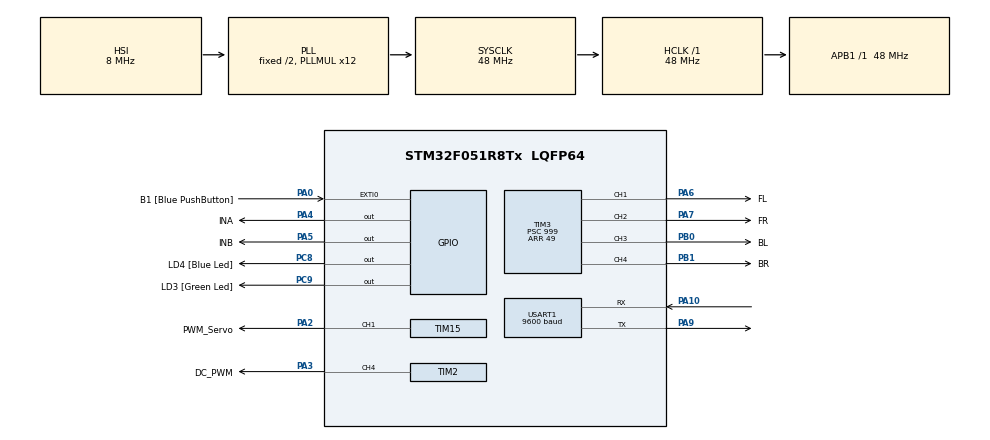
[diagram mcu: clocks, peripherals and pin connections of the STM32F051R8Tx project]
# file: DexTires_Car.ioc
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Mcu.Family=STM32F0
Mcu.Name=STM32F051R8Tx
Mcu.Package=LQFP64
NVIC.USART1_IRQn=true\:0\:0\:false\:false\:true\:true\:true
PA0.GPIO_Label=B1 [Blue PushButton]
PA0.GPIO_ModeDefaultEXTI=GPIO_MODE_IT_RISING
PA0.Signal=GPXTI0
PA10.Mode=Asynchronous
PA10.Signal=USART1_RX
PA13.GPIO_Label=SWDIO
PA13.Mode=Serial_Wire
PA13.Signal=SYS_SWDIO
PA14.GPIO_Label=SWCLK
PA14.Mode=Serial_Wire
PA14.Signal=SYS_SWCLK
PA2.GPIO_Label=PWM_Servo
PA2.Signal=S_TIM15_CH1
PA3.GPIO_Label=DC_PWM
PA3.Signal=S_TIM2_CH4
PA4.GPIO_Label=INA
PA4.Signal=GPIO_Output
PA5.GPIO_Label=INB
PA5.Signal=GPIO_Output
PA6.GPIO_Label=FL
PA6.Signal=S_TIM3_CH1
PA7.GPIO_Label=FR
PA7.Signal=S_TIM3_CH2
PA9.Mode=Asynchronous
PA9.Signal=USART1_TX
PB0.GPIO_Label=BL
PB0.Signal=S_TIM3_CH3
PB1.GPIO_Label=BR
PB1.Signal=S_TIM3_CH4
PC8.GPIO_Label=LD4 [Blue Led]
PC8.Signal=GPIO_Output
PC9.GPIO_Label=LD3 [Green Led]
PC9.Signal=GPIO_Output
ProjectManager.HeapSize=0x200
ProjectManager.StackSize=0x400
ProjectManager.TargetToolchain=STM32CubeIDE
RCC.AHBFreq_Value=48000000
RCC.APB1Freq_Value=48000000
RCC.APB1TimFreq_Value=48000000
RCC.HCLKFreq_Value=48000000
RCC.PLLMUL=RCC_PLL_MUL12
RCC.SYSCLKFreq_VALUE=48000000
RCC.SYSCLKSource=RCC_SYSCLKSOURCE_PLLCLK
SH.S_TIM15_CH1.0=TIM15_CH1,PWM Generation1 CH1
SH.S_TIM2_CH4.0=TIM2_CH4,PWM Generation4 CH4
SH.S_TIM3_CH1.0=TIM3_CH1,PWM Generation1 CH1
SH.S_TIM3_CH2.0=TIM3_CH2,PWM Generation2 CH2
SH.S_TIM3_CH3.0=TIM3_CH3,PWM Generation3 CH3
SH.S_TIM3_CH4.0=TIM3_CH4,PWM Generation4 CH4
TIM15.Channel-PWM\ Generation1\ CH1=TIM_CHANNEL_1
TIM15.Period=9999
TIM15.Prescaler=95
TIM2.Channel-PWM\ Generation4\ CH4=TIM_CHANNEL_4
TIM2.Period=9999
TIM2.Prescaler=95
TIM3.Channel-PWM\ Generation1\ CH1=TIM_CHANNEL_1
TIM3.Channel-PWM\ Generation2\ CH2=TIM_CHANNEL_2
TIM3.Channel-PWM\ Generation3\ CH3=TIM_CHANNEL_3
TIM3.Channel-PWM\ Generation4\ CH4=TIM_CHANNEL_4
TIM3.Period=49
TIM3.Prescaler=999
TIM3.Pulse-PWM\ Generation1\ CH1=0
TIM3.Pulse-PWM\ Generation2\ CH2=0
TIM3.Pulse-PWM\ Generation3\ CH3=0
TIM3.Pulse-PWM\ Generation4\ CH4=0
USART1.BaudRate=9600
USART1.VirtualMode-Asynchronous=VM_ASYNC
VP_TIM2_VS_ClockSourceINT.Mode=Internal
VP_TIM3_VS_ClockSourceINT.Mode=Internal
board=STM32F0DISCOVERY

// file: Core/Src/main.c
/* USER CODE BEGIN Header */
/**
  ******************************************************************************
  * @file           : main.c
  * @brief          : Main program body
  ******************************************************************************
  * @attention
  *
  * <h2><center>&copy; Copyright (c) 2020 STMicroelectronics.
  * All rights reserved.</center></h2>
  *
  * This software component is licensed by ST under BSD 3-Clause license,
  * the "License"; You may not use this file except in compliance with the
  * License. You may obtain a copy of the License at:
  *                        opensource.org/licenses/BSD-3-Clause
  *
  ******************************************************************************
  */
/* USER CODE END Header */
#include "main.h"

TIM_HandleTypeDef htim2;
TIM_HandleTypeDef htim3;
TIM_HandleTypeDef htim15;

UART_HandleTypeDef huart1;

/* USER CODE BEGIN PV */
unsigned ADC_val;
int enableLEDs;
int LEDsRunning;
int prevSpeed;
int prevForwardBackward;
int ledPulseWidth;

enum LightIndication {
	Off = 0x0,
	Front = 0x1 << 0,
	Back = 0x1 << 1,
	Left = 0x1 << 2,
	Right = 0x1 << 3
};

uint8_t rxbuffer;

/* USER CODE END PV */

void SystemClock_Config(void);
static void MX_GPIO_Init(void);
static void MX_TIM3_Init(void);
static void MX_TIM2_Init(void);
static void MX_TIM15_Init(void);
static void MX_USART1_UART_Init(void);
/* USER CODE BEGIN PFP */
void SetCalibrationLights(uint8_t, uint8_t);
void DecodeData(uint8_t);
void speed_conversion(uint8_t, uint8_t);
void angle_conversion(uint8_t, uint8_t);
/* USER CODE END PFP */

int main(void)
{

  /* MCU Configuration--------------------------------------------------------*/

  /* Reset of all peripherals, Initializes the Flash interface and the Systick. */
  HAL_Init();

  /* USER CODE BEGIN Init */
  ADC_val = 0;
  LEDsRunning = 0;
  enableLEDs = 0;
  prevSpeed = 0;
  prevForwardBackward = 3;
  ledPulseWidth = 0;

  /* USER CODE END Init */

  /* Configure the system clock */
  SystemClock_Config();

  /* Initialize all configured peripherals */
  MX_GPIO_Init();
  MX_TIM3_Init();
  MX_TIM2_Init();
  MX_TIM15_Init();
  MX_USART1_UART_Init();
  /* USER CODE BEGIN 2 */
  //START TIMERS
  HAL_TIM_PWM_Start(&htim2, TIM_CHANNEL_4);
  HAL_TIM_PWM_Start(&htim15, TIM_CHANNEL_1);

  //Enable Timer Channels
  HAL_TIM_PWM_Start(&htim3, TIM_CHANNEL_1);
  HAL_TIM_PWM_Start(&htim3, TIM_CHANNEL_2);
  HAL_TIM_PWM_Start(&htim3, TIM_CHANNEL_3);
  HAL_TIM_PWM_Start(&htim3, TIM_CHANNEL_4);
  /* USER CODE END 2 */

  /* Infinite loop */
  /* USER CODE BEGIN WHILE */

  // Enabling the Receiver Interrupt for UART transmission
  __HAL_UART_ENABLE_IT(&huart1, UART_IT_RXNE);

  while (1)
  {
    /* USER CODE END WHILE */

    /* USER CODE BEGIN 3 */
	  DecodeData(rxbuffer);
	  //Testing Calibration LEDs
	  /*
	  uint8_t message = 0;
	  uint8_t temp = 0;
	  for (int i = 0; i <= 3; i++) {
	  	  temp = 0x1 << 7; //Calibration Mode
		  temp |= (i << 5); //Direction
		  for (int j = 1; j <= 2; j++) {
			  message = temp | j; //Pressure
			  DecodeData(message);
			  HAL_Delay(3000);
		  }
	  }*/

//	  //Test Motors
//	  uint8_t message = 0;
//	  //uint8_t temp = 0;
//
//	  message = 1 << 7;
//	  message |= 0 << 5;
//	  message |= 31;
//	  DecodeData(message);
//	  HAL_Delay(4000);
//
//	  message = 0;
//	  message = 1 << 5;
//	  message |= 1;
//	  DecodeData(message);
//	  HAL_Delay(4000);
//
//	  message = 0;
//	  message = 2 << 5;
//	  message |= 1;
//	  DecodeData(message);
//	  HAL_Delay(4000);
//
//	  message = 0;
//	  message = 3 << 5;
//	  message |= 31;
//	  DecodeData(message);
//	  HAL_Delay(4000);
//
//	  message = 0;
//	  message = 1 << 5;
//	  message |= 1;
//	  DecodeData(message);
//	  HAL_Delay(4000);

	  /*
	  for (int i = 0; i <= 3; i++) {
		  temp = 0x0 << 7; //Calibration Mode
		  temp |= (i << 5); //Direction
		  for (int j = 0; j <= 31; j++) {
			  message = temp | j; //Speed
			  DecodeData(message);
			  HAL_Delay(3000);
		  }
	  }*/

	  /*
	  uint8_t message = 0;
	  for (int i = 0 ; i < 32; i++) {
		  //speed_conversion(i, 0); //Forward
		  //angle_conversion(i, 1); //Right
		  message = 1 << 7;
		  message |= 0 << 5;
		  message |= i;
		  DecodeData(message);
		  HAL_Delay(100);
	  }*/

	  /*
	  uint8_t message = 0;
	  //speed_conversion(i, 0); //Forward
	  //angle_conversion(i, 1); //Right
	  message = 1 << 7;
	  message |= 0 << 5;
	  message |= 0;
	  DecodeData(message);
	  message |= 31;
	  DecodeData(message);
	  message = 1 << 7;
	  message |= 3 << 5;
	  message |= 0;
	  DecodeData(message);
	  message |= 31;
	  DecodeData(message);
	  */

	  /*
	  for (int i = 0 ; i < 32; i++) {
		  speed_conversion(i, 3); //Backward
		  angle_conversion(i, 2); //Left
		  HAL_Delay(1000);
	  }
	  */
  }
  /* USER CODE END 3 */
}

void SystemClock_Config(void)
{
  RCC_OscInitTypeDef RCC_OscInitStruct = {0};
  RCC_ClkInitTypeDef RCC_ClkInitStruct = {0};
  RCC_PeriphCLKInitTypeDef PeriphClkInit = {0};

  /** Initializes the RCC Oscillators according to the specified parameters
  * in the RCC_OscInitTypeDef structure.
  */
  RCC_OscInitStruct.OscillatorType = RCC_OSCILLATORTYPE_HSI;
  RCC_OscInitStruct.HSIState = RCC_HSI_ON;
  RCC_OscInitStruct.HSICalibrationValue = RCC_HSICALIBRATION_DEFAULT;
  RCC_OscInitStruct.PLL.PLLState = RCC_PLL_ON;
  RCC_OscInitStruct.PLL.PLLSource = RCC_PLLSOURCE_HSI;
  RCC_OscInitStruct.PLL.PLLMUL = RCC_PLL_MUL12;
  RCC_OscInitStruct.PLL.PREDIV = RCC_PREDIV_DIV1;
  if (HAL_RCC_OscConfig(&RCC_OscInitStruct) != HAL_OK)
  {
    Error_Handler();
  }
  /** Initializes the CPU, AHB and APB buses clocks
  */
  RCC_ClkInitStruct.ClockType = RCC_CLOCKTYPE_HCLK|RCC_CLOCKTYPE_SYSCLK
                              |RCC_CLOCKTYPE_PCLK1;
  RCC_ClkInitStruct.SYSCLKSource = RCC_SYSCLKSOURCE_PLLCLK;
  RCC_ClkInitStruct.AHBCLKDivider = RCC_SYSCLK_DIV1;
  RCC_ClkInitStruct.APB1CLKDivider = RCC_HCLK_DIV1;

  if (HAL_RCC_ClockConfig(&RCC_ClkInitStruct, FLASH_LATENCY_1) != HAL_OK)
  {
    Error_Handler();
  }
  PeriphClkInit.PeriphClockSelection = RCC_PERIPHCLK_USART1;
  PeriphClkInit.Usart1ClockSelection = RCC_USART1CLKSOURCE_PCLK1;
  if (HAL_RCCEx_PeriphCLKConfig(&PeriphClkInit) != HAL_OK)
  {
    Error_Handler();
  }
}

static void MX_TIM2_Init(void)
{

  TIM_ClockConfigTypeDef sClockSourceConfig = {0};
  TIM_MasterConfigTypeDef sMasterConfig = {0};
  TIM_OC_InitTypeDef sConfigOC = {0};

  htim2.Instance = TIM2;
  htim2.Init.Prescaler = 95;
  htim2.Init.CounterMode = TIM_COUNTERMODE_UP;
  htim2.Init.Period = 9999;
  htim2.Init.ClockDivision = TIM_CLOCKDIVISION_DIV1;
  htim2.Init.AutoReloadPreload = TIM_AUTORELOAD_PRELOAD_DISABLE;
  if (HAL_TIM_Base_Init(&htim2) != HAL_OK)
  {
    Error_Handler();
  }
  sClockSourceConfig.ClockSource = TIM_CLOCKSOURCE_INTERNAL;
  if (HAL_TIM_ConfigClockSource(&htim2, &sClockSourceConfig) != HAL_OK)
  {
    Error_Handler();
  }
  if (HAL_TIM_PWM_Init(&htim2) != HAL_OK)
  {
    Error_Handler();
  }
  sMasterConfig.MasterOutputTrigger = TIM_TRGO_RESET;
  sMasterConfig.MasterSlaveMode = TIM_MASTERSLAVEMODE_DISABLE;
  if (HAL_TIMEx_MasterConfigSynchronization(&htim2, &sMasterConfig) != HAL_OK)
  {
    Error_Handler();
  }
  sConfigOC.OCMode = TIM_OCMODE_PWM1;
  sConfigOC.Pulse = 0;
  sConfigOC.OCPolarity = TIM_OCPOLARITY_HIGH;
  sConfigOC.OCFastMode = TIM_OCFAST_DISABLE;
  if (HAL_TIM_PWM_ConfigChannel(&htim2, &sConfigOC, TIM_CHANNEL_4) != HAL_OK)
  {
    Error_Handler();
  }
  HAL_TIM_MspPostInit(&htim2);

}

static void MX_TIM3_Init(void)
{

  TIM_ClockConfigTypeDef sClockSourceConfig = {0};
  TIM_MasterConfigTypeDef sMasterConfig = {0};
  TIM_OC_InitTypeDef sConfigOC = {0};

  htim3.Instance = TIM3;
  htim3.Init.Prescaler = 999;
  htim3.Init.CounterMode = TIM_COUNTERMODE_UP;
  htim3.Init.Period = 49;
  htim3.Init.ClockDivision = TIM_CLOCKDIVISION_DIV1;
  htim3.Init.AutoReloadPreload = TIM_AUTORELOAD_PRELOAD_DISABLE;
  if (HAL_TIM_Base_Init(&htim3) != HAL_OK)
  {
    Error_Handler();
  }
  sClockSourceConfig.ClockSource = TIM_CLOCKSOURCE_INTERNAL;
  if (HAL_TIM_ConfigClockSource(&htim3, &sClockSourceConfig) != HAL_OK)
  {
    Error_Handler();
  }
  if (HAL_TIM_PWM_Init(&htim3) != HAL_OK)
  {
    Error_Handler();
  }
  sMasterConfig.MasterOutputTrigger = TIM_TRGO_RESET;
  sMasterConfig.MasterSlaveMode = TIM_MASTERSLAVEMODE_DISABLE;
  if (HAL_TIMEx_MasterConfigSynchronization(&htim3, &sMasterConfig) != HAL_OK)
  {
    Error_Handler();
  }
  sConfigOC.OCMode = TIM_OCMODE_PWM1;
  sConfigOC.Pulse = 0;
  sConfigOC.OCPolarity = TIM_OCPOLARITY_HIGH;
  sConfigOC.OCFastMode = TIM_OCFAST_DISABLE;
  if (HAL_TIM_PWM_ConfigChannel(&htim3, &sConfigOC, TIM_CHANNEL_1) != HAL_OK)
  {
    Error_Handler();
  }
  if (HAL_TIM_PWM_ConfigChannel(&htim3, &sConfigOC, TIM_CHANNEL_2) != HAL_OK)
  {
    Error_Handler();
  }
  if (HAL_TIM_PWM_ConfigChannel(&htim3, &sConfigOC, TIM_CHANNEL_3) != HAL_OK)
  {
    Error_Handler();
  }
  if (HAL_TIM_PWM_ConfigChannel(&htim3, &sConfigOC, TIM_CHANNEL_4) != HAL_OK)
  {
    Error_Handler();
  }
  HAL_TIM_MspPostInit(&htim3);

}

static void MX_TIM15_Init(void)
{

  TIM_MasterConfigTypeDef sMasterConfig = {0};
  TIM_OC_InitTypeDef sConfigOC = {0};
  TIM_BreakDeadTimeConfigTypeDef sBreakDeadTimeConfig = {0};

  htim15.Instance = TIM15;
  htim15.Init.Prescaler = 95;
  htim15.Init.CounterMode = TIM_COUNTERMODE_UP;
  htim15.Init.Period = 9999;
  htim15.Init.ClockDivision = TIM_CLOCKDIVISION_DIV1;
  htim15.Init.RepetitionCounter = 0;
  htim15.Init.AutoReloadPreload = TIM_AUTORELOAD_PRELOAD_DISABLE;
  if (HAL_TIM_PWM_Init(&htim15) != HAL_OK)
  {
    Error_Handler();
  }
  sMasterConfig.MasterOutputTrigger = TIM_TRGO_RESET;
  sMasterConfig.MasterSlaveMode = TIM_MASTERSLAVEMODE_DISABLE;
  if (HAL_TIMEx_MasterConfigSynchronization(&htim15, &sMasterConfig) != HAL_OK)
  {
    Error_Handler();
  }
  sConfigOC.OCMode = TIM_OCMODE_PWM1;
  sConfigOC.Pulse = 0;
  sConfigOC.OCPolarity = TIM_OCPOLARITY_HIGH;
  sConfigOC.OCNPolarity = TIM_OCNPOLARITY_HIGH;
  sConfigOC.OCFastMode = TIM_OCFAST_DISABLE;
  sConfigOC.OCIdleState = TIM_OCIDLESTATE_RESET;
  sConfigOC.OCNIdleState = TIM_OCNIDLESTATE_RESET;
  if (HAL_TIM_PWM_ConfigChannel(&htim15, &sConfigOC, TIM_CHANNEL_1) != HAL_OK)
  {
    Error_Handler();
  }
  sBreakDeadTimeConfig.OffStateRunMode = TIM_OSSR_DISABLE;
  sBreakDeadTimeConfig.OffStateIDLEMode = TIM_OSSI_DISABLE;
  sBreakDeadTimeConfig.LockLevel = TIM_LOCKLEVEL_OFF;
  sBreakDeadTimeConfig.DeadTime = 0;
  sBreakDeadTimeConfig.BreakState = TIM_BREAK_DISABLE;
  sBreakDeadTimeConfig.BreakPolarity = TIM_BREAKPOLARITY_HIGH;
  sBreakDeadTimeConfig.AutomaticOutput = TIM_AUTOMATICOUTPUT_DISABLE;
  if (HAL_TIMEx_ConfigBreakDeadTime(&htim15, &sBreakDeadTimeConfig) != HAL_OK)
  {
    Error_Handler();
  }
  HAL_TIM_MspPostInit(&htim15);

}

static void MX_USART1_UART_Init(void)
{

  huart1.Instance = USART1;
  huart1.Init.BaudRate = 9600;
  huart1.Init.WordLength = UART_WORDLENGTH_8B;
  huart1.Init.StopBits = UART_STOPBITS_1;
  huart1.Init.Parity = UART_PARITY_NONE;
  huart1.Init.Mode = UART_MODE_TX_RX;
  huart1.Init.HwFlowCtl = UART_HWCONTROL_NONE;
  huart1.Init.OverSampling = UART_OVERSAMPLING_16;
  huart1.Init.OneBitSampling = UART_ONE_BIT_SAMPLE_DISABLE;
  huart1.AdvancedInit.AdvFeatureInit = UART_ADVFEATURE_NO_INIT;
  if (HAL_UART_Init(&huart1) != HAL_OK)
  {
    Error_Handler();
  }

}

static void MX_GPIO_Init(void)
{
  GPIO_InitTypeDef GPIO_InitStruct = {0};

  /* GPIO Ports Clock Enable */
  __HAL_RCC_GPIOA_CLK_ENABLE();
  __HAL_RCC_GPIOB_CLK_ENABLE();
  __HAL_RCC_GPIOC_CLK_ENABLE();

  /*Configure GPIO pin Output Level */
  HAL_GPIO_WritePin(GPIOA, INA_Pin|INB_Pin, GPIO_PIN_RESET);

  /*Configure GPIO pin Output Level */
  HAL_GPIO_WritePin(GPIOC, LD4_Pin|LD3_Pin, GPIO_PIN_RESET);

  /*Configure GPIO pin : B1_Pin */
  GPIO_InitStruct.Pin = B1_Pin;
  GPIO_InitStruct.Mode = GPIO_MODE_IT_RISING;
  GPIO_InitStruct.Pull = GPIO_NOPULL;
  HAL_GPIO_Init(B1_GPIO_Port, &GPIO_InitStruct);

  /*Configure GPIO pins : INA_Pin INB_Pin */
  GPIO_InitStruct.Pin = INA_Pin|INB_Pin;
  GPIO_InitStruct.Mode = GPIO_MODE_OUTPUT_PP;
  GPIO_InitStruct.Pull = GPIO_NOPULL;
  GPIO_InitStruct.Speed = GPIO_SPEED_FREQ_LOW;
  HAL_GPIO_Init(GPIOA, &GPIO_InitStruct);

  /*Configure GPIO pins : LD4_Pin LD3_Pin */
  GPIO_InitStruct.Pin = LD4_Pin|LD3_Pin;
  GPIO_InitStruct.Mode = GPIO_MODE_OUTPUT_PP;
  GPIO_InitStruct.Pull = GPIO_NOPULL;
  GPIO_InitStruct.Speed = GPIO_SPEED_FREQ_LOW;
  HAL_GPIO_Init(GPIOC, &GPIO_InitStruct);

}

/* USER CODE BEGIN 4 */

/* void DecodeData(uint8_t message)
 * Function takes in the received rxbuffer value and decodes it into the appropriate
 * mode, speed, and direction bits. If the remote is in calibration mode, then motors are disabled
 * and LEDs are enabled. Else, motors are enabled and appropriate speed translations into
 * PWM are performed.*/
void DecodeData(uint8_t message) {
	uint8_t mode = message >> 7; //Get bit-7
	uint8_t direction = (message >> 5) & 0x3; // Get bit-6 and bit-5
	uint8_t speed = message & 0x1F; //Get the bottom 5 bits (0 to 4)

	//Check for Calibration Mode (mode is 0 if calibration)
	if (mode == 0) {
		enableLEDs = 1;
		speed_conversion(0, direction); //Don't run the DC Motors
		angle_conversion(0, 0); //Don't turn the Servo Motor
	} else {
		enableLEDs = 0;
		speed_conversion(speed, direction);
		angle_conversion(speed, direction);
	}

	SetCalibrationLights(direction, speed);
}

// This is to take care of the case where connection is disrupted DURING gameplay.
/* TODO: Create a while loop or timer which is constantly checking for connection on the Bluetooth. If it's not
		connected, then the Fail Safe mechanism takes over.
			- Timer that fires every so often (3 seconds?)
			- If no new message (not necessarily different data) has been received, then set 'connected' global
				varibale to FALSE, else set to true
			- Make sure the Decode function handles the 'connected' variable first (top of the function),
				I.e. If not connected, set everything to zero, blink LEDs, return from Decode function
*/

// TODO: While car is not connected, blink all car lights every second to indicate disconnection

/* void SetCalibrationLights(uint8_t direction, uint8_t pressure)
 * Depending on the mode and speed bits, change the intensity of the headlights corresponding to the
 * states in calibration state machine. */
void SetCalibrationLights(uint8_t direction, uint8_t pressure) {
	if (enableLEDs && (pressure == 1 || pressure == 2)) {
		//If LEDs are already running, return

		int indication = 0;
		//int pulseWidth = 0;

		switch (direction) {
			case 0: indication = Back; break;
			case 1: indication = Right; break;
			case 2: indication = Left; break;
			case 3: indication = Front; break;
			default: indication = Off; break;
		}

		/*
		// Note: Prescaler value = 9999
		// Here, pressure is referring to the speed bits that are sent during calibration mode.
		if (pressure == 1) {
			//Rest Pressure
			__HAL_TIM_SET_AUTORELOAD(&htim3, 2399); //2Hz
		} else if (pressure == 2) {
			//Full Pressure
			__HAL_TIM_SET_AUTORELOAD(&htim3, 1199); //4Hz
		}

		// Get half of the ARR to set the duty cycle to 50%
		pulseWidth = ((__HAL_TIM_GET_AUTORELOAD(&htim3) + 1) / 2) - 1;
		*/

		if (pressure == 1) {
			//Rest Pressure
			ledPulseWidth = ((__HAL_TIM_GET_AUTORELOAD(&htim3) + 1) * 0.35) - 1; //35% Duty Cycle
		} else if (pressure == 2) {
			//Rest Pressure
			ledPulseWidth = __HAL_TIM_GET_AUTORELOAD(&htim3); //100% Duty Cycle
		}

		__HAL_TIM_SET_COMPARE(&htim3, TIM_CHANNEL_1, ((indication & Front) || (indication & Left)) * ledPulseWidth);
		__HAL_TIM_SET_COMPARE(&htim3, TIM_CHANNEL_2, ((indication & Front) || (indication & Right)) * ledPulseWidth);
		__HAL_TIM_SET_COMPARE(&htim3, TIM_CHANNEL_3, ((indication & Back) || (indication & Left)) * ledPulseWidth);
		__HAL_TIM_SET_COMPARE(&htim3, TIM_CHANNEL_4, ((indication & Back) || (indication & Right)) * ledPulseWidth);

//		if (direction == 3 && pressure == 1) {
//			//Enable Timer Channels
//			HAL_TIM_PWM_Start(&htim3, TIM_CHANNEL_1);
//			HAL_TIM_PWM_Start(&htim3, TIM_CHANNEL_2);
//			HAL_TIM_PWM_Start(&htim3, TIM_CHANNEL_3);
//			HAL_TIM_PWM_Start(&htim3, TIM_CHANNEL_4);
//		}

		LEDsRunning = 1;
	} else {
		//HAL_TIM_PWM_Stop(&htim3, TIM_CHANNEL_1);
		//HAL_TIM_PWM_Stop(&htim3, TIM_CHANNEL_2);
		//HAL_TIM_PWM_Stop(&htim3, TIM_CHANNEL_3);
		//HAL_TIM_PWM_Stop(&htim3, TIM_CHANNEL_4);

		__HAL_TIM_SET_COMPARE(&htim3, TIM_CHANNEL_1, 0);
		__HAL_TIM_SET_COMPARE(&htim3, TIM_CHANNEL_2, 0);
		__HAL_TIM_SET_COMPARE(&htim3, TIM_CHANNEL_3, 0);
		__HAL_TIM_SET_COMPARE(&htim3, TIM_CHANNEL_4, 0);

		LEDsRunning = 0;
	}
}

/* void angle_conversion(uint8_t input, uint8_t right_left)
 * Function to convert the speed bits into corresponding angle
 * by taking the inverse. Hardcoded values are based on servo datasheet and
 * prior calculations. */
void angle_conversion(uint8_t input, uint8_t right_left) {
	int pulse_width = 0;

	if (right_left == 1) {
		//Right
		//pulse_width = (int)(400 + (250 * input / 31));
		pulse_width = 680;
	} else if(right_left == 2) {
		//Left
		//pulse_width = (int)(1100 - (250 * input / 31));
		pulse_width = 820;
	} else {
		//No turning
		pulse_width = 750;
	}

	htim15.Instance->CCR1 = pulse_width;
}

/* void speed_conversion(uint8_t input, uint8_t front_back)
 * Function to convert the speed bits (uint8_t input) into correct PWM output for
 * DC motors. */

//TODO: Make the speed conversion ramp-up/ramp-down for changing direction
void speed_conversion(uint8_t input, uint8_t front_back)
{
	int duty_cycle_percentage = 0;
	int currForwardBackward;

	/* The following min_percentage is based on tested values to see when the DC
	 * motors actually run and when they do not. max_percentage is based on when
	 * we thought the DC motors speed was too high, so we limited the max PWM output. */
	// was at 50 and 80
	int min_percentage = 75;
	int max_percentage = 85;

	//HAL_GPIO_WritePin(GPIOB, GPIO_PIN_10, 1);
	//HAL_GPIO_WritePin(GPIOB, GPIO_PIN_11, 1);

	// This selection construct takes care of the polarity input to the motor driver.
	if((front_back == 3 || front_back == 1 || front_back == 2)) //clockwise, forward/right/left
	{
		HAL_GPIO_WritePin(GPIOA, GPIO_PIN_4, 1); //INA
		HAL_GPIO_WritePin(GPIOA, GPIO_PIN_5, 0); //INB
		currForwardBackward = 1;
	}
	else if(front_back == 0)//anticlockwise, back
	{
		HAL_GPIO_WritePin(GPIOA, GPIO_PIN_4, 0); //INA
		HAL_GPIO_WritePin(GPIOA, GPIO_PIN_5, 1); //INB
		currForwardBackward = 0;
	}

	// if speed is 0, then no duty cycle
	if(input == 0) {
		duty_cycle_percentage = 0;
		htim2.Instance->CCR4 = duty_cycle_percentage * (htim2.Instance->ARR+1) / 100;
	}
	// if speed is 1, then min duty cycle
	else if (input == 1) {
		duty_cycle_percentage = min_percentage;
		htim2.Instance->CCR4 = duty_cycle_percentage * (htim2.Instance->ARR+1) / 100;
	}
	// if speed is in acceleration range, then compute correct duty cycle percentage
	else {
		if (prevSpeed <= input) { //Acceleration
			for (int i = prevSpeed; i <= input; i++) {
				duty_cycle_percentage = ((max_percentage - min_percentage)*(i - 1)/30) + min_percentage;
				htim2.Instance->CCR4 = duty_cycle_percentage * (htim2.Instance->ARR+1) / 100;
				HAL_Delay(25);
			}
		}
		else { //Deceleration
			for (int i = prevSpeed; i >= input; i--) {
				duty_cycle_percentage = ((max_percentage - min_percentage)*(i - 1)/30) + min_percentage;
				htim2.Instance->CCR4 = duty_cycle_percentage * (htim2.Instance->ARR+1) / 100;
				HAL_Delay(25);
			}
		}
	}

	//htim2.Instance->CCR4 = duty_cycle_percentage * (htim2.Instance->ARR+1) / 100;

	prevSpeed = input;
	prevForwardBackward = currForwardBackward;
}

/* USER CODE END 4 */

void Error_Handler(void)
{
}

/************************ (C) COPYRIGHT STMicroelectronics *****END OF FILE****/
